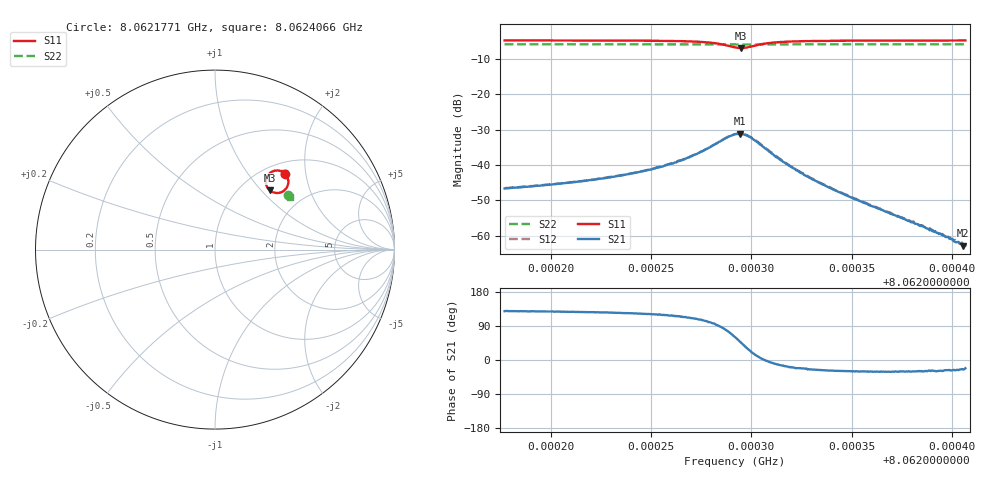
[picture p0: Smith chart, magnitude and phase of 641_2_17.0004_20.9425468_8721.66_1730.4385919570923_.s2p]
#  HZ  S  RI  R  50.00
! Rohde & Schwarz Vector Network Analyzer
! Rohde-Schwarz,ZNB20-2Port,1311601062101988,3.16
! Created: UTC 3/20/2024, 11:20:50 PM
! freq[Hz]  re:S11  im:S11  re:S21  im:S21  re:S12  im:S12  re:S22  im:S22
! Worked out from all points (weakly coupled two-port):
!   401 points, 8.0621771 GHz to 8.0624066 GHz, reference 50 ohm
!   highest |S21| = -31.17 dB at 8.0622942 GHz (marker M1); lowest = -62.8 dB at 8.0624055 GHz (marker M2)
!   lowest |S11| = -6.9 dB at 8.0622947 GHz (marker M3), VSWR 2.63, Z = 67.4 + j55.8 ohm
!   |S11| at or under -10 dB: nowhere
!   |S22| runs from -6.0 to -5.9 dB; largest |S21 - S12| = 0.0015
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8.06217711e9  0.3902 0.4233  -0.00292 0.00364  -0.00275 0.00383  0.4093 0.3018
8.06221556e9  0.3959 0.4166  -0.00352 0.00474  -0.00325 0.00496  0.4107 0.2996
8.06223621e9  0.4 0.4103  -0.004 0.00597  -0.0037 0.00626  0.4115 0.2982
8.062254e9  0.4049 0.4002  -0.00478 0.0081  -0.00416 0.00838  0.4122 0.2969
8.06226663e9  0.4084 0.3857  -0.00478 0.011  -0.00418 0.0115  0.4126 0.2956
8.06227294e9  0.4087 0.3734  -0.00451 0.0136  -0.00377 0.0139  0.4125 0.2948
8.0622804e9  0.4023 0.3503  -0.00243 0.0184  -0.0014 0.0186  0.4122 0.2935
8.06228614e9  0.3816 0.3263  0.00262 0.0229  0.00389 0.0229  0.4114 0.2926
8.06229188e9  0.333 0.3167  0.0134 0.0237  0.0145 0.0231  0.4093 0.2926
8.06229417e9  0.3103 0.3263  0.018 0.0209  0.0191 0.0202  0.4085 0.2931
8.06229475e9  0.3052 0.3302  0.0189 0.02  0.0201 0.0192  0.4084 0.2932
8.06229704e9  0.2895 0.3504  0.0218 0.0153  0.0228 0.0144  0.4079 0.2941
8.06229991e9  0.2832 0.3786  0.0226 0.00901  0.0233 0.00802  0.4081 0.2954
8.06230795e9  0.3064 0.4269  0.0163 -0.000754  0.0165 -0.00178  0.4101 0.2966
8.06231828e9  0.3368 0.4404  0.00953 -0.00304  0.00957 -0.00364  0.412 0.2963
8.06233033e9  0.3553 0.4403  0.00571 -0.00267  0.00566 -0.00305  0.4132 0.2955
8.06234295e9  0.3657 0.4379  0.00373 -0.00204  0.00365 -0.00229  0.4139 0.2948
8.06236877e9  0.3763 0.4333  0.0018 -0.00108  0.00177 -0.0012  0.4152 0.2932
8.06238828e9  0.381 0.4307  0.0011 -0.000585  0.00107 -0.000696  0.4161 0.292
8.06239689e9  0.3825 0.4295  0.000874 -0.000444  0.000822 -0.000495  0.4163 0.2915
8.0624055e9  0.3838 0.4286  0.000659 -0.000308  0.000655 -0.00035  0.4166 0.2911
8.06240665e9  0.3841 0.4286  0.00068 -0.000271  0.000634 -0.000331  0.4167 0.2911
